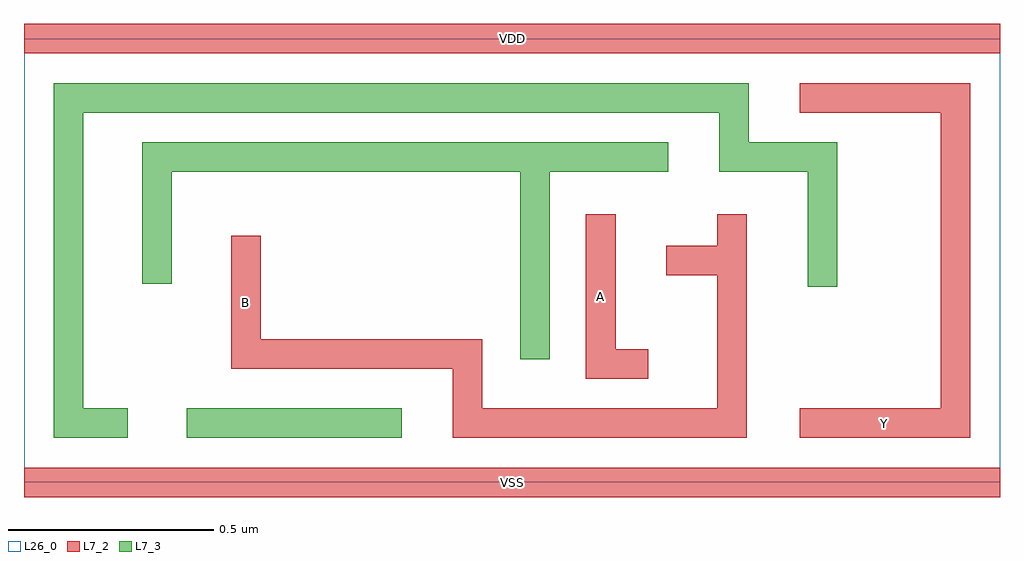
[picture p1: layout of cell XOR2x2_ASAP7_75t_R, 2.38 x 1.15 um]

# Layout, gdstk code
import gdstk
lib = gdstk.Library(unit=1e-6, precision=1e-09)
def R(c, l, rs):  # rectangles x0, y0, x1, y1
    for r in rs: c.add(gdstk.rectangle(r[:2], r[2:], *l))
L7_2 = (7, 2)
L7_3 = (7, 3)
L26_0 = (26, 0)

xor2x2_asap7_75t_r = lib.new_cell('XOR2x2_ASAP7_75t_R')
R(xor2x2_asap7_75t_r, L7_2, [(0,-0.036,2.376,0.036), (1.044,0.108,1.76,0.18), (1.044,0.108,1.116,0.348), (1.688,0.108,1.76,0.652), (1.888,0.108,2.304,0.18), (2.232,0.108,2.304,0.972), (1.368,0.252,1.52,0.324), (1.368,0.252,1.44,0.652), (0.504,0.276,1.116,0.348), (0.504,0.276,0.576,0.6), (1.564,0.504,1.76,0.576), (1.888,0.9,2.304,0.972), (0,1.044,2.376,1.116)])
R(xor2x2_asap7_75t_r, L7_3, [(0.072,0.108,0.144,0.972), (0.072,0.108,0.252,0.18), (0.396,0.108,0.92,0.18), (1.208,0.3,1.28,0.828), (1.908,0.476,1.98,0.828), (0.288,0.484,0.36,0.828), (0.288,0.756,1.568,0.828), (1.692,0.756,1.764,0.972), (1.692,0.756,1.98,0.828), (0.072,0.9,1.764,0.972)])
R(xor2x2_asap7_75t_r, L26_0, [(0,0,2.376,1.08)])
xor2x2_asap7_75t_r.add(gdstk.Label('A', (1.404,0.452), layer=7, texttype=1))
xor2x2_asap7_75t_r.add(gdstk.Label('B', (0.54,0.438), layer=7, texttype=1))
xor2x2_asap7_75t_r.add(gdstk.Label('VDD', (1.188,1.08), layer=7, texttype=1))
xor2x2_asap7_75t_r.add(gdstk.Label('VSS', (1.188,0), layer=7, texttype=1))
xor2x2_asap7_75t_r.add(gdstk.Label('Y', (2.096,0.144), layer=7, texttype=1))

lib.write_gds('XOR2x2_ASAP7_75t_R.gds')
